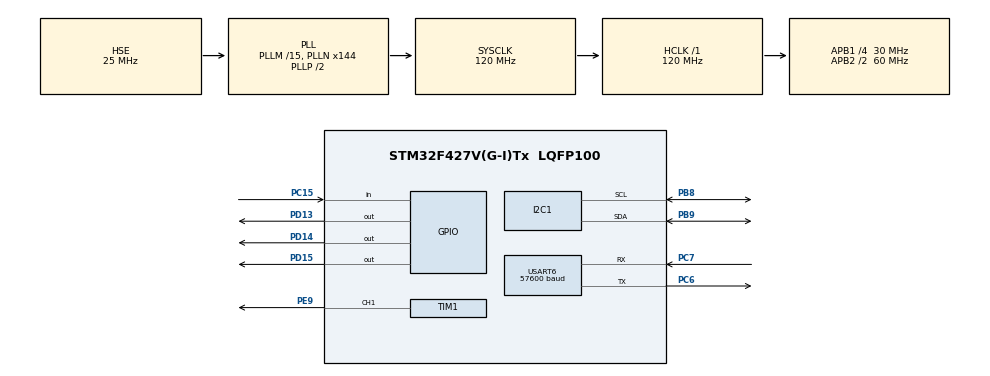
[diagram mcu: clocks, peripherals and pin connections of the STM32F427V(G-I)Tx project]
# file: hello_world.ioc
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I2C1.I2C_Mode=I2C_Fast
Mcu.Family=STM32F4
Mcu.Name=STM32F427V(G-I)Tx
Mcu.Package=LQFP100
NVIC.PriorityGroup=NVIC_PRIORITYGROUP_4
NVIC.USART6_IRQn=true\:0\:0\:false\:false\:true\:true\:true\:true
PA13.Mode=JTAG_5_pins
PA13.Signal=SYS_JTMS-SWDIO
PA14.Mode=JTAG_5_pins
PA14.Signal=SYS_JTCK-SWCLK
PA15.Mode=JTAG_5_pins
PA15.Signal=SYS_JTDI
PB3.Mode=JTAG_5_pins
PB3.Signal=SYS_JTDO-SWO
PB4.Mode=JTAG_5_pins
PB4.Signal=SYS_JTRST
PB8.Mode=I2C
PB8.Signal=I2C1_SCL
PB9.Mode=I2C
PB9.Signal=I2C1_SDA
PC15/OSC32_OUT.Signal=GPIO_Input
PC6.Mode=Asynchronous
PC6.Signal=USART6_TX
PC7.Mode=Asynchronous
PC7.Signal=USART6_RX
PD13.Signal=GPIO_Output
PD14.Signal=GPIO_Output
PD15.Signal=GPIO_Output
PE9.Signal=S_TIM1_CH1
PH0/OSC_IN.Mode=HSE-External-Oscillator
PH0/OSC_IN.Signal=RCC_OSC_IN
PH1/OSC_OUT.Mode=HSE-External-Oscillator
PH1/OSC_OUT.Signal=RCC_OSC_OUT
ProjectManager.HeapSize=0x200
ProjectManager.StackSize=0x400
ProjectManager.TargetToolchain=STM32CubeIDE
RCC.48MHZClocksFreq_Value=60000000
RCC.AHBFreq_Value=120000000
RCC.APB1CLKDivider=RCC_HCLK_DIV4
RCC.APB1Freq_Value=30000000
RCC.APB1TimFreq_Value=60000000
RCC.APB2CLKDivider=RCC_HCLK_DIV2
RCC.APB2Freq_Value=60000000
RCC.APB2TimFreq_Value=120000000
RCC.CortexFreq_Value=120000000
RCC.HCLKFreq_Value=120000000
RCC.HSE_VALUE=25000000
RCC.HSI_VALUE=16000000
RCC.LSE_VALUE=32768
RCC.PLLM=15
RCC.PLLN=144
RCC.PLLSourceVirtual=RCC_PLLSOURCE_HSE
RCC.SYSCLKFreq_VALUE=120000000
RCC.SYSCLKSource=RCC_SYSCLKSOURCE_PLLCLK
RCC.VCOOutputFreq_Value=240000000
SH.S_TIM1_CH1.0=TIM1_CH1,PWM Generation1 CH1
TIM1.Channel-PWM\ Generation1\ CH1=TIM_CHANNEL_1
USART6.BaudRate=57600
USART6.VirtualMode=VM_ASYNC
board=custom

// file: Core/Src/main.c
/* USER CODE BEGIN Header */
/**
  ******************************************************************************
  * @file           : main.c
  * @brief          : Main program body
  ******************************************************************************
  * @attention
  *
  * Copyright (c) 2025 STMicroelectronics.
  * All rights reserved.
  *
  * This software is licensed under terms that can be found in the LICENSE file
  * in the root directory of this software component.
  * If no LICENSE file comes with this software, it is provided AS-IS.
  *
  ******************************************************************************
  */
/* USER CODE END Header */
#include "main.h"
#include "i2c.h"
#include "tim.h"
#include "usart.h"
#include "gpio.h"

/* USER CODE BEGIN Includes */
#include "traffic_light_logic/traffic_light.h"
#include "drivers/uart_driver.h"
#include "music/notes_handler.h"
#include "music/operating_mode.h"

/* USER CODE END Includes */

void SystemClock_Config(void);

/* USER CODE BEGIN 0 */

void i2c_scan(void)
{
    char msg[64];
    uart_transmitln_string("I2C scan start");

    for (uint8_t a7 = 0x08; a7 <= 0x77; a7++)
    {
        uint16_t a8 = a7 << 1; // HAL ждёт 8-битный адрес
        if (HAL_I2C_IsDeviceReady(&hi2c1, a8, 2, 10) == HAL_OK)
        {
            sprintf(msg, "Found device at 7-bit 0x%02X (8-bit 0x%02X)", a7, a8);
            uart_transmitln_string(msg);
        }
    }

    uart_transmitln_string("I2C scan end");
}

/* USER CODE END 0 */

int main(void)
{

  /* MCU Configuration--------------------------------------------------------*/

  /* Reset of all peripherals, Initializes the Flash interface and the Systick. */
  HAL_Init();

  /* Configure the system clock */
  SystemClock_Config();

  /* Initialize all configured peripherals */
  MX_GPIO_Init();
  MX_USART6_UART_Init();
  MX_TIM1_Init();
  MX_I2C1_Init();
  /* USER CODE BEGIN 2 */
  project_init();
  /* USER CODE END 2 */

  /* Infinite loop */
  /* USER CODE BEGIN WHILE */
  while (1)
  {
	  handle_operating_mode();

    /* USER CODE END WHILE */

  }
}

void SystemClock_Config(void)
{
  RCC_OscInitTypeDef RCC_OscInitStruct = {0};
  RCC_ClkInitTypeDef RCC_ClkInitStruct = {0};

  /** Configure the main internal regulator output voltage
  */
  __HAL_RCC_PWR_CLK_ENABLE();
  __HAL_PWR_VOLTAGESCALING_CONFIG(PWR_REGULATOR_VOLTAGE_SCALE3);

  /** Initializes the RCC Oscillators according to the specified parameters
  * in the RCC_OscInitTypeDef structure.
  */
  RCC_OscInitStruct.OscillatorType = RCC_OSCILLATORTYPE_HSE;
  RCC_OscInitStruct.HSEState = RCC_HSE_ON;
  RCC_OscInitStruct.PLL.PLLState = RCC_PLL_ON;
  RCC_OscInitStruct.PLL.PLLSource = RCC_PLLSOURCE_HSE;
  RCC_OscInitStruct.PLL.PLLM = 15;
  RCC_OscInitStruct.PLL.PLLN = 144;
  RCC_OscInitStruct.PLL.PLLP = RCC_PLLP_DIV2;
  RCC_OscInitStruct.PLL.PLLQ = 4;
  if (HAL_RCC_OscConfig(&RCC_OscInitStruct) != HAL_OK)
  {
    Error_Handler();
  }

  /** Initializes the CPU, AHB and APB buses clocks
  */
  RCC_ClkInitStruct.ClockType = RCC_CLOCKTYPE_HCLK|RCC_CLOCKTYPE_SYSCLK
                              |RCC_CLOCKTYPE_PCLK1|RCC_CLOCKTYPE_PCLK2;
  RCC_ClkInitStruct.SYSCLKSource = RCC_SYSCLKSOURCE_PLLCLK;
  RCC_ClkInitStruct.AHBCLKDivider = RCC_SYSCLK_DIV1;
  RCC_ClkInitStruct.APB1CLKDivider = RCC_HCLK_DIV4;
  RCC_ClkInitStruct.APB2CLKDivider = RCC_HCLK_DIV2;

  if (HAL_RCC_ClockConfig(&RCC_ClkInitStruct, FLASH_LATENCY_3) != HAL_OK)
  {
    Error_Handler();
  }
}

void Error_Handler(void)
{
  __disable_irq();
  while (1)
  {
  }
}
